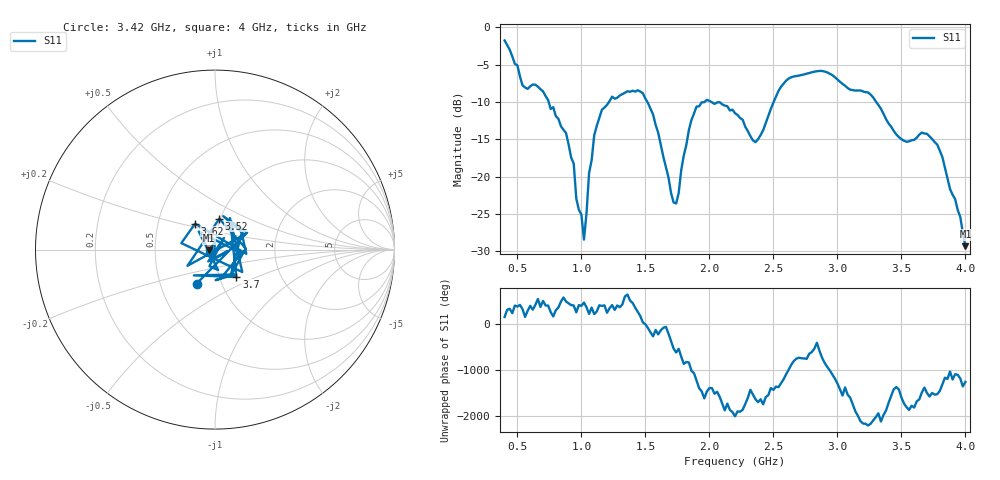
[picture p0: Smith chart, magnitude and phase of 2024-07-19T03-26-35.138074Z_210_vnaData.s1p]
!Created with skrf (http://scikit-rf.org).
# Hz S RI R 50.0
!freq ReS11 ImS11
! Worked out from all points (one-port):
!   181 points, 400 MHz to 4 GHz, reference 50 ohm
!   lowest |S11| = -29.3 dB at 4 GHz (marker M1), VSWR 1.07, Z = 46.7 - j0.413 ohm
!   |S11| at or under -10 dB: 744.2 MHz to 1.216 GHz (471.6 MHz wide, 48.1 % of centre); 2.015 GHz to 2.502 GHz (487.6 MHz wide, 21.6 % of centre); 3.303 GHz to end of sweep (the widest 3 of 4)
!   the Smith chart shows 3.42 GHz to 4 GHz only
!   S11 on the Smith chart (normalised r, x): 3.42 GHz: 0.76, -0.30; 3.52 GHz: 0.99, +0.35; 3.62 GHz: 0.77, +0.23; 3.7 GHz: 1.21, -0.38; 4 GHz: 0.93, -0.01
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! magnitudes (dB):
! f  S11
! 400 MHz  -1.8
! 540 MHz  -7.8
! 700 MHz  -8.6
! 860 MHz  -13.7
! 940 MHz  -18.3
! 960 MHz  -22.9
! 1.02 GHz  -28.4
! 1.06 GHz  -19.5
! 1.1 GHz  -14.5
! 1.16 GHz  -11.1
! 1.3 GHz  -9.1
! 1.48 GHz  -8.8
! 1.56 GHz  -11.7
! 1.72 GHz  -23.5
! 1.76 GHz  -22.2
! 1.84 GHz  -13.7
! 1.9 GHz  -10.6
! 2.2 GHz  -11.5
! 2.36 GHz  -15.4
! 2.66 GHz  -6.6
! 3.1 GHz  -8.4
! 3.42 GHz  -13.3
! 3.52 GHz  -15.2
! 3.56 GHz  -15.3
! 3.62 GHz  -14.8
! 3.7 GHz  -14.3
! 3.82 GHz  -17.4
! 4 GHz  -29.3
